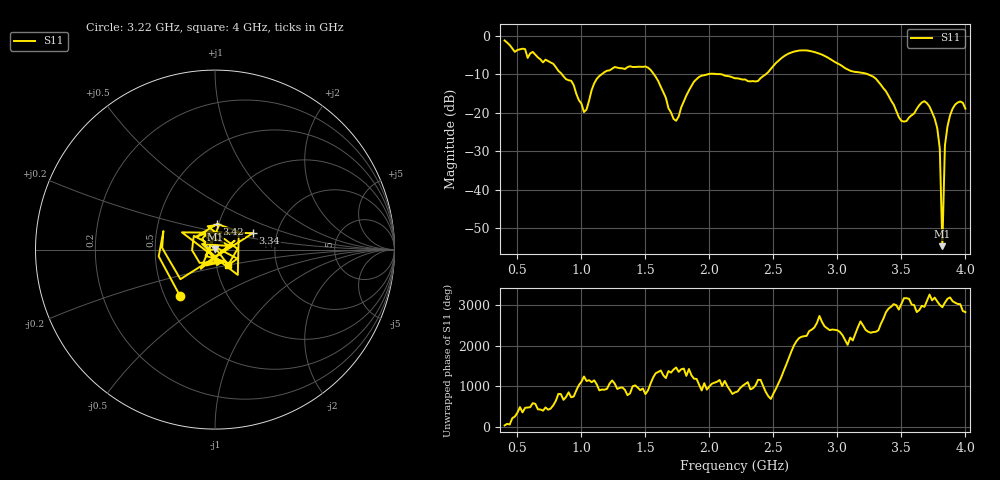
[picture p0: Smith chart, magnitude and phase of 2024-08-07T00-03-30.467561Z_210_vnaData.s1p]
!Created with skrf (http://scikit-rf.org).
# Hz S RI R 50.0
!freq ReS11 ImS11
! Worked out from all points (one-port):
!   181 points, 400 MHz to 4 GHz, reference 50 ohm
!   lowest |S11| = -54.7 dB at 3.82 GHz (marker M1), VSWR 1.00, Z = 50.1 + j0.174 ohm
!   |S11| at or under -10 dB: 1.567 GHz to 1.987 GHz (420.6 MHz wide, 23.7 % of centre); 2.092 GHz to 2.44 GHz (348.6 MHz wide, 15.4 % of centre); 3.239 GHz to end of sweep (the widest 3 of 4)
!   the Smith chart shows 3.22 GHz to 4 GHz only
!   S11 on the Smith chart (normalised r, x): 3.22 GHz: 0.60, -0.35; 3.34 GHz: 1.50, +0.29; 3.42 GHz: 0.98, +0.29; 4 GHz: 1.14, -0.20
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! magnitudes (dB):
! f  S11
! 400 MHz  -1.2
! 860 MHz  -10.5
! 940 MHz  -12.8
! 1.02 GHz  -19.8
! 1.12 GHz  -11.2
! 1.3 GHz  -8.4
! 1.52 GHz  -8.3
! 1.6 GHz  -11.7
! 1.72 GHz  -21.6
! 1.76 GHz  -21.0
! 1.92 GHz  -10.7
! 2.2 GHz  -11.0
! 2.38 GHz  -11.7
! 2.66 GHz  -4.1
! 3.1 GHz  -9.1
! 3.22 GHz  -9.8
! 3.34 GHz  -12.7
! 3.42 GHz  -16.9
! 3.5 GHz  -22.1
! 3.56 GHz  -21.2
! 3.68 GHz  -17.0
! 3.78 GHz  -24.0
! 3.8 GHz  -29.3
! 3.82 GHz  -54.7
! 3.84 GHz  -28.6
! 3.86 GHz  -23.6
! 3.92 GHz  -17.9
! 4 GHz  -18.9
